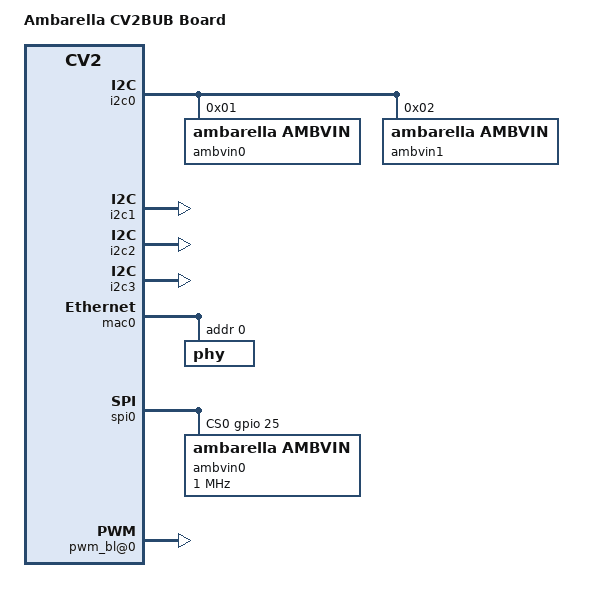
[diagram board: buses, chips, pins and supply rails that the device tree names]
/*
 * Copyright (C) 2013 Ambarella,Inc. - http://www.ambarella.com/
 * Author: Cao Rongrong <rrcao@ambarella.com>
 *
 * This program is free software; you can redistribute it and/or modify
 * it under the terms of the GNU General Public License version 2 as
 * published by the Free Software Foundation.
 */
/dts-v1/;

/include/ "ambarella-cv2.dtsi"
#include "config.h"
#include "bsp.h"

/ {
	model = "Ambarella CV2BUB Board";
	compatible = "ambarella,cv2bub", "ambarella,cv2";

	chosen {
		bootargs = "console=ttyS0 ubi.mtd=lnx root=ubi0:rootfs rw rootfstype=ubifs init=/linuxrc";
	};

	n_apb@e4000000 {
		i2c0: i2c@e4008000 {
			status = "ok";

			ambvin0@01 {
				compatible = "ambarella,ambvin";
				reg = <0x01>;	/* fake address, will be overwritten in runtime */
			};

			ambvin1@02 {
				compatible = "ambarella,ambvin";
				reg = <0x02>;	/* fake address, will be overwritten in runtime */
			};
		};

		i2c1: i2c@e4009000 {
			status = "ok";
			  };

		i2c2: i2c@e400a000 {
			status = "ok";
		};

		i2c3: i2c@e400b000 {
			status = "ok";
		};
	};

	n_ahb@e0000000 {
		sdmmc0: sdmmc0@e0004000 {
			pwr-gpios = <&gpio 109 0x1>;
			v18-gpios = <&gpio 162 0x1>;
		};

		sdmmc2: sdmmc2@e0005000 {
			pwr-gpios = <&gpio 110 0x1>;
			v18-gpios = <&gpio 163 0x1>;
		};

		mac0: ethernet@e000e000 {
			amb,tx-clk-invert;
#if 0
			pinctrl-0 = <&rgmii_pins &ahb_mdio_pins>;
			amb,ahb-12mhz-div = <1>;
#endif
			phy@0 {
				reg = <0>;
			};
		};

		spi0: spi@e0011000 {
			status = "ok";
			cs-gpios = <&gpio 25 0>;

			ambvin0@0 {
				compatible = "ambarella,ambvin";
				reg = <0>;
				spi-max-frequency = <1000000>;
				spi-cpha;
				spi-cpol;
			};
		};

		hdmi@e000b000 {
			amb,i2c-adapter = <2>;
		};
	};

	rct@ed080000 {
		usbphy: usbphy@ed080050 {
			/* high will trigger the ocp interrupt */
			amb,ocp-polarity = <0>;
			pinctrl-names = "default";
			pinctrl-0 = <&usb_host0_pins_a>;
		};
	};

	bogus_bus {
		pwm_bl@0 {
			compatible = "pwm-backlight";
			reg = <0>;
			pwms = <&pwm0 0 40000 0>;
			pinctrl-names = "default";
			pinctrl-0 = <&pwm0_pins_a>;
			brightness-levels = <0 4 8 16 32 64 128 255>;
			default-brightness-level = <7>;
		};
	};

	iav {
		/* node for vin controller */
		vinc0 {
			vinrst-gpios = <&gpio 113 0>;
			/* vinpwr-gpios = <>; */
		};
	};

	cv_shm {
		reg = <CV_RAM_START (DRAM_SIZE - CV_RAM_START)>;
		device_type = "cv_shm";
	};
};

